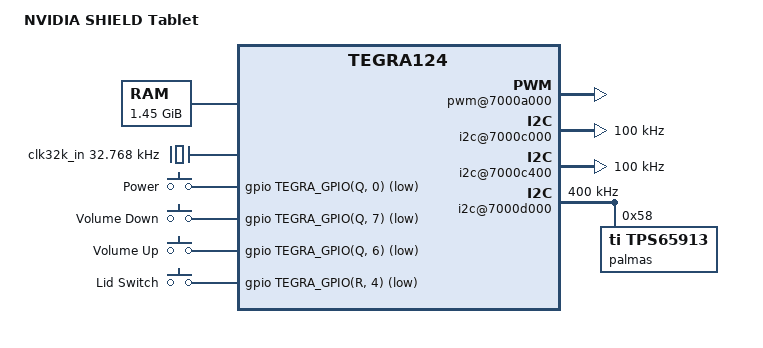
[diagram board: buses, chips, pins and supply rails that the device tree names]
/dts-v1/;

#include <dt-bindings/input/input.h>
#include "tegra124.dtsi"

/ {
	model = "NVIDIA SHIELD Tablet";
	compatible = "nvidia,tn8", "nvidia,tegra124";

	aliases {
		rtc0 = &palmas;
		rtc1 = "/rtc@0,7000e000";
	};

	chosen {
		bootargs = "console=tty1 gpt fbcon=rotate:2 earlyprintk clk_ignore_unused";
		linux,initrd-start = <0x81680000>;
		linux,initrd-end = <0x82800000>;
	};

	memory@80000000 {
		reg = <0x0 0x80000000 0x0 0x2d000000
		       0x0 0xae000000 0x0 0x30000000>;
	};

	// 32.768 kHz crystal oscillator
	clk32k_in: clock-32k {
		compatible = "fixed-clock";
		#clock-cells = <0>;
		clock-frequency = <32768>;
		clock-output-names = "ref-oscillator";
	};

	// Pulse Width Modulator (PWM)
	pwm@7000a000 {
		status = "okay";
	};

	// GPIO keys
	gpio-keys {
		compatible = "gpio-keys";

		key-power {
			label = "Power";
			gpios = <&gpio TEGRA_GPIO(Q, 0) GPIO_ACTIVE_LOW>;
			linux,code = <KEY_POWER>;
			debounce-interval = <10>;
			wakeup-source;
		};

		key-volume-down {
			label = "Volume Down";
			gpios = <&gpio TEGRA_GPIO(Q, 7) GPIO_ACTIVE_LOW>;
			linux,code = <KEY_VOLUMEDOWN>;
			debounce-interval = <10>;
		};

		key-volume-up {
			label = "Volume Up";
			gpios = <&gpio TEGRA_GPIO(Q, 6) GPIO_ACTIVE_LOW>;
			linux,code = <KEY_VOLUMEUP>;
			debounce-interval = <10>;
		};
	};
	extcon-keys {
		compatible = "gpio-keys";

		// Cover / keyboard dock lid sense
		sw-lid {
			label = "Lid Switch";
			gpios = <&gpio TEGRA_GPIO(R, 4) GPIO_ACTIVE_LOW>;
			linux,code = <SW_LID>;
			linux,input-type = <EV_SW>;
			wakeup-source;
			debounce-interval = <300>;
		};
	};

	// High Definition Audio (HDA)
	hda@70030000 {
		status = "okay";
	};

	// ---------------- UNFINISHED ----------------

	i2c@7000c000 {
		status = "okay";
		clock-frequency = <100000>;
	};

	i2c@7000c400 {
		status = "okay";
		clock-frequency = <100000>;
	};

	i2c@7000d000 {
		status = "okay";
		clock-frequency = <400000>;

		palmas: pmic@58 {
			compatible = "ti,tps65913", "ti,palmas";
			reg = <0x58>;
			interrupts = <GIC_SPI 86 IRQ_TYPE_LEVEL_HIGH>;

			#interrupt-cells = <2>;
			interrupt-controller;

			ti,system-power-controller;

			palmas_gpio: gpio {
				compatible = "ti,palmas-gpio";
				gpio-controller;
				#gpio-cells = <2>;
			};

			// INSERT REGULATORS

			rtc {
				compatible = "ti,palmas-rtc";
				interrupt-parent = <&palmas>;
				interrupts = <8 0>;
			};
		};
	};

	// --- TO BE REMOVED ---

	framebuffer {
		compatible = "simple-framebuffer";
		reg = <0x0 0xad012000 0x0 (1216 * 1920 * 4)>;
		width = <1200>;
		height = <1920>;
		stride = <(1216 * 4)>;
		format = "a8b8g8r8";
	};
};

